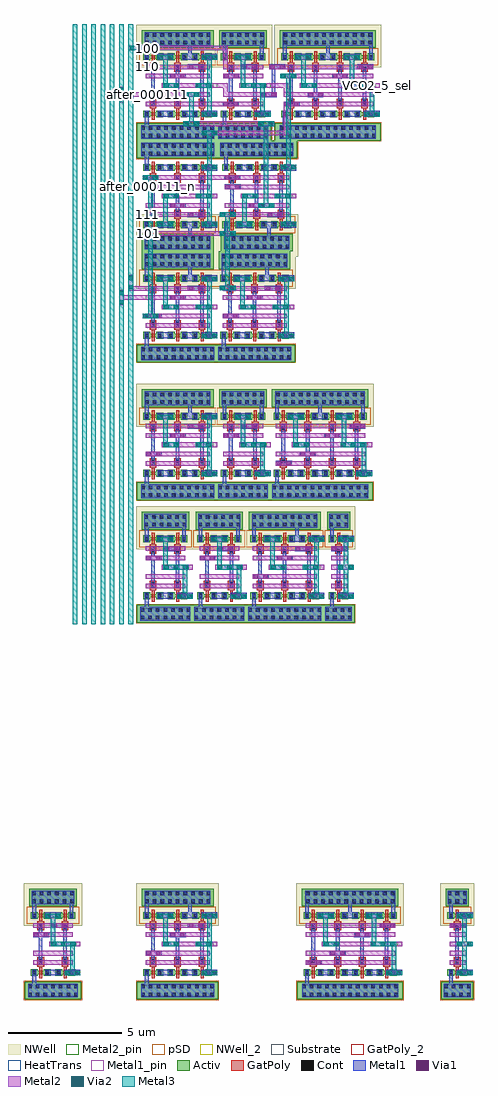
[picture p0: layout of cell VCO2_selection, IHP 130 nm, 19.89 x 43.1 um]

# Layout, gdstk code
from math import pi, radians
import gdstk
lib = gdstk.Library(unit=1e-6, precision=1e-09)
def R(c, l, rs):  # rectangles x0, y0, x1, y1
    for r in rs: c.add(gdstk.rectangle(r[:2], r[2:], *l))
def A(c, l, x, y, w, h, nx, ny, dx, dy):  # array of equal rectangles
    R(c, l, [(x+i*dx, y+j*dy, x+i*dx+w, y+j*dy+h) for i in range(nx) for j in range(ny)])
Activ = (1, 0)
GatPoly = (5, 0)
GatPoly_2 = (5, 2)
Cont = (6, 0)
Metal1 = (8, 0)
Metal1_pin = (8, 2)
Metal2 = (10, 0)
Metal2_pin = (10, 2)
pSD = (14, 0)
Via1 = (19, 0)
Via2 = (29, 0)
Metal3 = (30, 0)
NWell = (31, 0)
NWell_2 = (31, 2)
Substrate = (40, 0)
HeatTrans = (51, 0)

via_4_3 = lib.new_cell('Via$4$3')
R(via_4_3, Metal2, [(-0.1,-0.35,0.1,0.35)])
R(via_4_3, Via2, [(-0.095,-0.3,0.095,-0.11), (-0.095,0.11,0.095,0.3)])
R(via_4_3, Metal3, [(-0.1,-0.35,0.1,0.35)])

ntap1_3 = lib.new_cell('ntap1$3')
R(ntap1_3, Activ, [(0,0,1.01,0.78)])
A(ntap1_3, Cont, 0.085, 0.14, 0.16, 0.16, 3, 2, 0.34, 0.34)
R(ntap1_3, Metal1, [(0.085,0.09,0.925,0.69)])
R(ntap1_3, Metal1_pin, [(0.085,0.09,0.925,0.69), (0.085,0.14,0.925,0.64)])
R(ntap1_3, NWell, [(-0.24,-0.24,1.25,1.02), (0,0,1.01,0.78)])
R(ntap1_3, NWell_2, [(0,0,1.01,0.78)])
ntap1_3.add(gdstk.Label('well', (0.505,0.01), layer=63, texttype=0))
ntap1_3.add(gdstk.Label('well', (0.505,0.01), layer=31, texttype=0))

ptap1_3 = lib.new_cell('ptap1$3')
R(ptap1_3, Activ, [(0,0,1.43,0.78)])
A(ptap1_3, Cont, 0.125, 0.14, 0.16, 0.16, 4, 2, 0.34, 0.34)
R(ptap1_3, Metal1, [(0.125,0.09,1.305,0.69), (0.125,0.14,1.305,0.64)])
R(ptap1_3, Metal1_pin, [(0.125,0.14,1.305,0.64)])
R(ptap1_3, pSD, [(-0.03,-0.03,1.46,0.81)])
R(ptap1_3, Substrate, [(0,0,1.43,0.78)])
ptap1_3.add(gdstk.Label('sub!', (0.715,0.01), layer=63, texttype=0))
ptap1_3.add(gdstk.Label('sub!', (0.715,0.01), layer=40, texttype=0))

via_2_3 = lib.new_cell('Via$2$3')
R(via_2_3, Metal1, [(-0.105,-0.35,0.105,0.35)])
R(via_2_3, Metal2, [(-0.1,-0.35,0.1,0.35)])
R(via_2_3, Via1, [(-0.095,-0.3,0.095,-0.11), (-0.095,0.11,0.095,0.3)])

nmos_3 = lib.new_cell('nmos$3')
R(nmos_3, Activ, [(0,0,0.3,0.3), (0.57,0,0.87,0.3), (0,0.075,0.87,0.225)])
R(nmos_3, GatPoly, [(0.37,-0.105,0.5,0.405)])
R(nmos_3, GatPoly_2, [(0.37,-0.105,0.5,0.405)])
R(nmos_3, Cont, [(0.07,0.07,0.23,0.23), (0.64,0.07,0.8,0.23)])
R(nmos_3, Metal1, [(0.07,0.02,0.23,0.28), (0.64,0.02,0.8,0.28)])
R(nmos_3, Metal1_pin, [(0.07,0.02,0.23,0.28), (0.64,0.02,0.8,0.28)])
R(nmos_3, HeatTrans, [(0.37,-0.105,0.5,0.405)])
nmos_3.add(gdstk.Label('nmos', (0.435,0.15), layer=63, texttype=0))
nmos_3.add(gdstk.Label('nmos', (0.435,0.15), layer=51, texttype=0))

pmos_3 = lib.new_cell('pmos$3')
R(pmos_3, Activ, [(0,0,0.3,0.3), (0.57,0,0.87,0.3), (0,0.075,0.87,0.225)])
R(pmos_3, GatPoly, [(0.37,-0.105,0.5,0.405), (0.37,-0.105,0.5,0.405)])
R(pmos_3, Cont, [(0.07,0.07,0.23,0.23), (0.64,0.07,0.8,0.23)])
R(pmos_3, Metal1, [(0.07,0.02,0.23,0.28), (0.07,0.02,0.23,0.28), (0.64,0.02,0.8,0.28), (0.64,0.02,0.8,0.28)])
R(pmos_3, pSD, [(-0.18,-0.225,1.05,0.525)])
R(pmos_3, NWell, [(-0.31,-0.31,1.18,0.61)])
R(pmos_3, Substrate, [(0.57,0,0.87,0.3)])
R(pmos_3, HeatTrans, [(0.37,-0.105,0.5,0.405)])
pmos_3.add(gdstk.Label('pmos', (0.435,0.15), layer=63, texttype=0))
pmos_3.add(gdstk.Label('pmos', (0.435,0.15), layer=51, texttype=0))

via_12 = lib.new_cell('Via$12')
R(via_12, GatPoly, [(-0.15,-0.15,0.15,0.15)])
R(via_12, Cont, [(-0.08,-0.08,0.08,0.08)])
R(via_12, Metal1, [(-0.13,-0.08,0.13,0.08)])

via_7_1 = lib.new_cell('Via$7$1')
R(via_7_1, Metal2, [(-0.35,-0.1,0.35,0.1)])
R(via_7_1, Via2, [(-0.3,-0.095,-0.11,0.095), (0.11,-0.095,0.3,0.095)])
R(via_7_1, Metal3, [(-0.35,-0.1,0.35,0.1)])

inverter = lib.new_cell('inverter')
R(inverter, GatPoly, [(9.375,7.165,9.675,7.275), (9.375,9.065,9.675,9.175)])
R(inverter, Metal1, [(9.505,6.78,10.205,7.04), (9.505,9.3,10.205,9.56)])
R(inverter, Metal1_pin, [(9.16,6.015,9.36,6.215), (9.325,10.12,9.525,10.32)])
R(inverter, Metal2_pin, [(10.005,8.07,10.205,8.27), (9.2,8.89,9.4,9.09)])
inverter.add(gdstk.FlexPath([(9.245,9.56),(9.245,10.525)], 0.16, ends="flush", simple_path=True, layer=8, datatype=0))  # Metal1
inverter.add(gdstk.FlexPath([(9.245,6.78),(9.245,6.415)], 0.16, ends="flush", simple_path=True, layer=8, datatype=0))  # Metal1
inverter.add(gdstk.FlexPath([(9.525,7.555),(9.525,8.785)], 0.16, ends="flush", simple_path=True, layer=8, datatype=0))  # Metal1
inverter.add(gdstk.FlexPath([(9.65,9.405),(9.485,9.405)], 0.2, ends="flush", simple_path=True, layer=10, datatype=0))  # Metal2
inverter.add(gdstk.FlexPath([(9.65,6.885),(9.485,6.885)], 0.2, ends="flush", simple_path=True, layer=10, datatype=0))  # Metal2
inverter.add(gdstk.FlexPath([(9.2,8.99),(9.92,8.99)], 0.2, ends="flush", simple_path=True, layer=10, datatype=0))  # Metal2
inverter.add(gdstk.FlexPath([(9.2,8.58),(9.92,8.58)], 0.2, ends="flush", simple_path=True, layer=10, datatype=0))  # Metal2
inverter.add(gdstk.FlexPath([(9.2,7.76),(9.92,7.76)], 0.2, ends="flush", simple_path=True, layer=10, datatype=0))  # Metal2
inverter.add(gdstk.FlexPath([(9.2,7.35),(9.92,7.35)], 0.2, ends="flush", simple_path=True, layer=10, datatype=0))  # Metal2
inverter.add(gdstk.FlexPath([(9.2,8.17),(10.205,8.17)], 0.2, ends="flush", simple_path=True, layer=10, datatype=0))  # Metal2
inverter.add(gdstk.FlexPath([(9.855,6.885),(9.855,8.17)], 0.2, ends="flush", simple_path=True, layer=30, datatype=0))  # Metal3
inverter.add(gdstk.FlexPath([(9.855,9.405),(9.855,8.17)], 0.2, ends="flush", simple_path=True, layer=30, datatype=0))  # Metal3
inverter.add(gdstk.Reference(via_4_3, (9.855,6.885), rotation=3*pi/2))
inverter.add(gdstk.Reference(ntap1_3, (9.025,9.835)))
inverter.add(gdstk.Reference(ptap1_3, (8.815,5.725)))
inverter.add(gdstk.Reference(via_2_3, (9.855,6.885), rotation=3*pi/2))
inverter.add(gdstk.Reference(nmos_3, (9.095,6.76)))
inverter.add(gdstk.Reference(pmos_3, (9.095,9.28)))
inverter.add(gdstk.Reference(via_12, (9.525,8.915), rotation=pi/2))
inverter.add(gdstk.Reference(via_12, (9.525,7.425), rotation=3*pi/2))
inverter.add(gdstk.Reference(via_4_3, (9.855,9.405), rotation=3*pi/2))
inverter.add(gdstk.Reference(via_2_3, (9.555,8.99), rotation=3*pi/2))
inverter.add(gdstk.Reference(via_2_3, (9.855,9.405), rotation=3*pi/2))
inverter.add(gdstk.Reference(via_7_1, (9.855,8.17)))
inverter.add(gdstk.Label('out', (10.105,8.17), layer=10, texttype=25))
inverter.add(gdstk.Label('in', (9.3,8.99), layer=10, texttype=25))
inverter.add(gdstk.Label('VP', (9.295,10.22), layer=8, texttype=25))
inverter.add(gdstk.Label('GND', (9.26,6.115), layer=8, texttype=25))

ntap1 = lib.new_cell('ntap1')
R(ntap1, Activ, [(0,0,4.25,0.78)])
A(ntap1, Cont, 0.175, 0.14, 0.16, 0.16, 12, 2, 0.34, 0.34)
R(ntap1, Metal1, [(0.175,0.09,4.075,0.69)])
R(ntap1, Metal1_pin, [(0.175,0.09,4.075,0.69), (0.175,0.14,4.075,0.64)])
R(ntap1, NWell, [(-0.24,-0.24,4.49,1.02), (0,0,4.25,0.78)])
R(ntap1, NWell_2, [(0,0,4.25,0.78)])
ntap1.add(gdstk.Label('well', (2.125,0.01), layer=63, texttype=0))
ntap1.add(gdstk.Label('well', (2.125,0.01), layer=31, texttype=0))

ptap1 = lib.new_cell('ptap1')
R(ptap1, Activ, [(0,0,4.67,0.78)])
A(ptap1, Cont, 0.215, 0.14, 0.16, 0.16, 13, 2, 0.34, 0.34)
R(ptap1, Metal1, [(0.215,0.09,4.455,0.69), (0.215,0.14,4.455,0.64)])
R(ptap1, Metal1_pin, [(0.215,0.14,4.455,0.64)])
R(ptap1, pSD, [(-0.03,-0.03,4.7,0.81)])
R(ptap1, Substrate, [(0,0,4.67,0.78)])
ptap1.add(gdstk.Label('sub!', (2.335,0.01), layer=63, texttype=0))
ptap1.add(gdstk.Label('sub!', (2.335,0.01), layer=40, texttype=0))

nmos = lib.new_cell('nmos')
R(nmos, Activ, [(0,0,0.3,0.3), (0.57,0,0.87,0.3), (0,0.075,0.87,0.225)])
R(nmos, GatPoly, [(0.37,-0.105,0.5,0.405)])
R(nmos, GatPoly_2, [(0.37,-0.105,0.5,0.405)])
R(nmos, Cont, [(0.07,0.07,0.23,0.23), (0.64,0.07,0.8,0.23)])
R(nmos, Metal1, [(0.07,0.02,0.23,0.28), (0.64,0.02,0.8,0.28)])
R(nmos, Metal1_pin, [(0.07,0.02,0.23,0.28), (0.64,0.02,0.8,0.28)])
R(nmos, HeatTrans, [(0.37,-0.105,0.5,0.405)])
nmos.add(gdstk.Label('nmos', (0.435,0.15), layer=63, texttype=0))
nmos.add(gdstk.Label('nmos', (0.435,0.15), layer=51, texttype=0))

pmos = lib.new_cell('pmos')
R(pmos, Activ, [(0,0,0.3,0.3), (0.57,0,0.87,0.3), (0,0.075,0.87,0.225)])
R(pmos, GatPoly, [(0.37,-0.105,0.5,0.405), (0.37,-0.105,0.5,0.405)])
R(pmos, Cont, [(0.07,0.07,0.23,0.23), (0.64,0.07,0.8,0.23)])
R(pmos, Metal1, [(0.07,0.02,0.23,0.28), (0.07,0.02,0.23,0.28), (0.64,0.02,0.8,0.28), (0.64,0.02,0.8,0.28)])
R(pmos, pSD, [(-0.18,-0.225,1.05,0.525)])
R(pmos, NWell, [(-0.31,-0.31,1.18,0.61)])
R(pmos, Substrate, [(0.57,0,0.87,0.3)])
R(pmos, HeatTrans, [(0.37,-0.105,0.5,0.405)])
pmos.add(gdstk.Label('pmos', (0.435,0.15), layer=63, texttype=0))
pmos.add(gdstk.Label('pmos', (0.435,0.15), layer=51, texttype=0))

via = lib.new_cell('Via')
R(via, GatPoly, [(-0.15,-0.15,0.15,0.15)])
R(via, Cont, [(-0.08,-0.08,0.08,0.08)])
R(via, Metal1, [(-0.13,-0.08,0.13,0.08)])

via_2 = lib.new_cell('Via$2')
R(via_2, Metal1, [(-0.105,-0.35,0.105,0.35)])
R(via_2, Metal2, [(-0.1,-0.35,0.1,0.35)])
R(via_2, Via1, [(-0.095,-0.3,0.095,-0.11), (-0.095,0.11,0.095,0.3)])

via_8 = lib.new_cell('Via$8')
R(via_8, Metal2, [(-0.35,-0.1,0.35,0.1)])
R(via_8, Via2, [(-0.3,-0.095,-0.11,0.095), (0.11,-0.095,0.3,0.095)])
R(via_8, Metal3, [(-0.35,-0.1,0.35,0.1)])

via_4 = lib.new_cell('Via$4')
R(via_4, Metal2, [(-0.1,-0.35,0.1,0.35)])
R(via_4, Via2, [(-0.095,-0.3,0.095,-0.11), (-0.095,0.11,0.095,0.3)])
R(via_4, Metal3, [(-0.1,-0.35,0.1,0.35)])

via_6 = lib.new_cell('Via$6')
R(via_6, Metal1, [(-0.35,-0.105,0.35,0.105)])
R(via_6, Metal2, [(-0.35,-0.1,0.35,0.1)])
R(via_6, Via1, [(-0.3,-0.095,-0.11,0.095), (0.11,-0.095,0.3,0.095)])

via_9 = lib.new_cell('Via$9')
R(via_9, Metal2, [(-0.555,-0.1,0.555,0.1)])
A(via_9, Via2, -0.505, -0.095, 0.19, 0.19, 3, 1, 0.41, 0)
R(via_9, Metal3, [(-0.555,-0.1,0.555,0.1)])

nand_4in = lib.new_cell('NAND_4in')
A(nand_4in, GatPoly, 9.375, 7.165, 0.3, 0.11, 4, 2, 1.08, 1.9)
A(nand_4in, Metal1, 9.735, 6.78, 0.67, 0.26, 3, 1, 1.08, 0)
R(nand_4in, Metal1, [(12.745,6.78,13.445,7.04), (9.72,9.3,10.42,9.56), (10.815,9.3,11.485,9.56), (11.865,9.3,12.565,9.56)])
R(nand_4in, Metal1_pin, [(9.16,6.015,9.36,6.215), (9.325,10.12,9.525,10.32)])
R(nand_4in, Metal2_pin, [(9.2,7.25,9.4,7.45), (9.2,7.66,9.4,7.86), (13.245,8.07,13.445,8.27), (9.2,8.48,9.4,8.68), (9.2,8.89,9.4,9.09)])
nand_4in.add(gdstk.FlexPath([(13.055,9.56),(13.055,10.525)], 0.16, ends="flush", simple_path=True, layer=8, datatype=0))  # Metal1
nand_4in.add(gdstk.FlexPath([(12.765,7.555),(12.765,8.785)], 0.16, ends="flush", simple_path=True, layer=8, datatype=0))  # Metal1
nand_4in.add(gdstk.FlexPath([(11.685,7.555),(11.685,8.785)], 0.16, ends="flush", simple_path=True, layer=8, datatype=0))  # Metal1
nand_4in.add(gdstk.FlexPath([(11.15,9.56),(11.15,9.925)], 0.16, ends="flush", simple_path=True, layer=8, datatype=0))  # Metal1
nand_4in.add(gdstk.FlexPath([(9.245,9.56),(9.245,10.525)], 0.16, ends="flush", simple_path=True, layer=8, datatype=0))  # Metal1
nand_4in.add(gdstk.FlexPath([(9.245,6.78),(9.245,6.415)], 0.16, ends="flush", simple_path=True, layer=8, datatype=0))  # Metal1
nand_4in.add(gdstk.FlexPath([(9.525,7.555),(9.525,8.785)], 0.16, ends="flush", simple_path=True, layer=8, datatype=0))  # Metal1
nand_4in.add(gdstk.FlexPath([(10.605,7.555),(10.605,8.785)], 0.16, ends="flush", simple_path=True, layer=8, datatype=0))  # Metal1
nand_4in.add(gdstk.FlexPath([(9.9,8.17),(13.445,8.17)], 0.2, ends="flush", simple_path=True, layer=10, datatype=0))  # Metal2
nand_4in.add(gdstk.FlexPath([(12.89,6.885),(12.725,6.885)], 0.2, ends="flush", simple_path=True, layer=10, datatype=0))  # Metal2
nand_4in.add(gdstk.FlexPath([(12.01,9.405),(11.845,9.405)], 0.2, ends="flush", simple_path=True, layer=10, datatype=0))  # Metal2
nand_4in.add(gdstk.FlexPath([(9.2,7.76),(13.155,7.76)], 0.2, ends="flush", simple_path=True, layer=10, datatype=0))  # Metal2
nand_4in.add(gdstk.FlexPath([(9.2,7.35),(13.155,7.35)], 0.2, ends="flush", simple_path=True, layer=10, datatype=0))  # Metal2
nand_4in.add(gdstk.FlexPath([(9.2,8.99),(13.155,8.99)], 0.2, ends="flush", simple_path=True, layer=10, datatype=0))  # Metal2
nand_4in.add(gdstk.FlexPath([(9.2,8.58),(13.155,8.58)], 0.2, ends="flush", simple_path=True, layer=10, datatype=0))  # Metal2
nand_4in.add(gdstk.FlexPath([(9.865,9.405),(9.7,9.405)], 0.2, ends="flush", simple_path=True, layer=10, datatype=0))  # Metal2
nand_4in.add(gdstk.FlexPath([(10.43,8.58),(10.43,8.58)], 0.2, ends="flush", simple_path=True, layer=10, datatype=0))  # Metal2
nand_4in.add(gdstk.FlexPath([(12.215,9.405),(12.215,8.07)], 0.2, ends="flush", simple_path=True, layer=30, datatype=0))  # Metal3
nand_4in.add(gdstk.FlexPath([(13.095,6.885),(13.095,8.27)], 0.2, ends="flush", simple_path=True, layer=30, datatype=0))  # Metal3
nand_4in.add(gdstk.FlexPath([(10.07,9.305),(10.07,8.07)], 0.2, ends="flush", simple_path=True, layer=30, datatype=0))  # Metal3
nand_4in.add(gdstk.Reference(ntap1, (9.025,9.835)))
nand_4in.add(gdstk.Reference(ptap1, (8.815,5.725)))
nand_4in.add(gdstk.Reference(nmos, (10.175,6.76)))
nand_4in.add(gdstk.Reference(pmos, (10.175,9.28)))
nand_4in.add(gdstk.Reference(nmos, (9.095,6.76)))
nand_4in.add(gdstk.Reference(pmos, (9.095,9.28)))
nand_4in.add(gdstk.Reference(via, (9.525,8.915), rotation=pi/2))
nand_4in.add(gdstk.Reference(via, (10.605,8.915), rotation=pi/2))
nand_4in.add(gdstk.Reference(via, (10.605,7.425), rotation=3*pi/2))
nand_4in.add(gdstk.Reference(via, (9.525,7.425), rotation=3*pi/2))
nand_4in.add(gdstk.Reference(via_2, (11.685,8.58), rotation=3*pi/2))
nand_4in.add(gdstk.Reference(via_8, (10.32,8.17)))
nand_4in.add(gdstk.Reference(via_2, (10.07,9.405), rotation=3*pi/2))
nand_4in.add(gdstk.Reference(via_4, (10.07,9.405), rotation=3*pi/2))
nand_4in.add(gdstk.Reference(via_6, (12.805,8.99)))
nand_4in.add(gdstk.Reference(pmos, (11.255,9.28)))
nand_4in.add(gdstk.Reference(nmos, (11.255,6.76)))
nand_4in.add(gdstk.Reference(via, (11.685,8.915), rotation=pi/2))
nand_4in.add(gdstk.Reference(via, (11.685,7.425), rotation=3*pi/2))
nand_4in.add(gdstk.Reference(via_2, (10.605,7.76), rotation=3*pi/2))
nand_4in.add(gdstk.Reference(via_2, (12.215,9.405), rotation=3*pi/2))
nand_4in.add(gdstk.Reference(via_4, (12.215,9.405), rotation=3*pi/2))
nand_4in.add(gdstk.Reference(via_2, (13.095,6.885), rotation=3*pi/2))
nand_4in.add(gdstk.Reference(via_4, (13.095,6.885), rotation=3*pi/2))
nand_4in.add(gdstk.Reference(via_9, (12.61,8.17)))
nand_4in.add(gdstk.Reference(via_2, (9.55,7.35), rotation=3*pi/2))
nand_4in.add(gdstk.Reference(pmos, (12.335,9.28)))
nand_4in.add(gdstk.Reference(nmos, (12.335,6.76)))
nand_4in.add(gdstk.Reference(via, (12.765,8.915), rotation=pi/2))
nand_4in.add(gdstk.Reference(via, (12.765,7.425), rotation=3*pi/2))
nand_4in.add(gdstk.Label('d', (9.315,7.345), layer=10, texttype=25))
nand_4in.add(gdstk.Label('y', (13.345,8.17), layer=10, texttype=25))
nand_4in.add(gdstk.Label('c', (9.315,7.755), layer=10, texttype=25))
nand_4in.add(gdstk.Label('b', (9.315,8.575), layer=10, texttype=25))
nand_4in.add(gdstk.Label('a', (9.3,8.99), layer=10, texttype=25))
nand_4in.add(gdstk.Label('VP', (9.295,10.22), layer=8, texttype=25))
nand_4in.add(gdstk.Label('GND', (9.26,6.115), layer=8, texttype=25))

ntap1_1 = lib.new_cell('ntap1$1')
R(ntap1_1, Activ, [(0,0,3.17,0.78)])
A(ntap1_1, Cont, 0.145, 0.14, 0.16, 0.16, 9, 2, 0.34, 0.34)
R(ntap1_1, Metal1, [(0.145,0.09,3.025,0.69)])
R(ntap1_1, Metal1_pin, [(0.145,0.09,3.025,0.69), (0.145,0.14,3.025,0.64)])
R(ntap1_1, NWell, [(-0.24,-0.24,3.41,1.02), (0,0,3.17,0.78)])
R(ntap1_1, NWell_2, [(0,0,3.17,0.78)])
ntap1_1.add(gdstk.Label('well', (1.585,0.01), layer=63, texttype=0))
ntap1_1.add(gdstk.Label('well', (1.585,0.01), layer=31, texttype=0))

ptap1_1 = lib.new_cell('ptap1$1')
R(ptap1_1, Activ, [(0,0,3.59,0.78)])
A(ptap1_1, Cont, 0.185, 0.14, 0.16, 0.16, 10, 2, 0.34, 0.34)
R(ptap1_1, Metal1, [(0.185,0.09,3.405,0.69), (0.185,0.14,3.405,0.64)])
R(ptap1_1, Metal1_pin, [(0.185,0.14,3.405,0.64)])
R(ptap1_1, pSD, [(-0.03,-0.03,3.62,0.81)])
R(ptap1_1, Substrate, [(0,0,3.59,0.78)])
ptap1_1.add(gdstk.Label('sub!', (1.795,0.01), layer=63, texttype=0))
ptap1_1.add(gdstk.Label('sub!', (1.795,0.01), layer=40, texttype=0))

nmos_1 = lib.new_cell('nmos$1')
R(nmos_1, Activ, [(0,0,0.3,0.3), (0.57,0,0.87,0.3), (0,0.075,0.87,0.225)])
R(nmos_1, GatPoly, [(0.37,-0.105,0.5,0.405)])
R(nmos_1, GatPoly_2, [(0.37,-0.105,0.5,0.405)])
R(nmos_1, Cont, [(0.07,0.07,0.23,0.23), (0.64,0.07,0.8,0.23)])
R(nmos_1, Metal1, [(0.07,0.02,0.23,0.28), (0.64,0.02,0.8,0.28)])
R(nmos_1, Metal1_pin, [(0.07,0.02,0.23,0.28), (0.64,0.02,0.8,0.28)])
R(nmos_1, HeatTrans, [(0.37,-0.105,0.5,0.405)])
nmos_1.add(gdstk.Label('nmos', (0.435,0.15), layer=63, texttype=0))
nmos_1.add(gdstk.Label('nmos', (0.435,0.15), layer=51, texttype=0))

pmos_1 = lib.new_cell('pmos$1')
R(pmos_1, Activ, [(0,0,0.3,0.3), (0.57,0,0.87,0.3), (0,0.075,0.87,0.225)])
R(pmos_1, GatPoly, [(0.37,-0.105,0.5,0.405), (0.37,-0.105,0.5,0.405)])
R(pmos_1, Cont, [(0.07,0.07,0.23,0.23), (0.64,0.07,0.8,0.23)])
R(pmos_1, Metal1, [(0.07,0.02,0.23,0.28), (0.07,0.02,0.23,0.28), (0.64,0.02,0.8,0.28), (0.64,0.02,0.8,0.28)])
R(pmos_1, pSD, [(-0.18,-0.225,1.05,0.525)])
R(pmos_1, NWell, [(-0.31,-0.31,1.18,0.61)])
R(pmos_1, Substrate, [(0.57,0,0.87,0.3)])
R(pmos_1, HeatTrans, [(0.37,-0.105,0.5,0.405)])
pmos_1.add(gdstk.Label('pmos', (0.435,0.15), layer=63, texttype=0))
pmos_1.add(gdstk.Label('pmos', (0.435,0.15), layer=51, texttype=0))

via_10 = lib.new_cell('Via$10')
R(via_10, GatPoly, [(-0.15,-0.15,0.15,0.15)])
R(via_10, Cont, [(-0.08,-0.08,0.08,0.08)])
R(via_10, Metal1, [(-0.13,-0.08,0.13,0.08)])

via_2_1 = lib.new_cell('Via$2$1')
R(via_2_1, Metal1, [(-0.105,-0.35,0.105,0.35)])
R(via_2_1, Metal2, [(-0.1,-0.35,0.1,0.35)])
R(via_2_1, Via1, [(-0.095,-0.3,0.095,-0.11), (-0.095,0.11,0.095,0.3)])

via_8_1 = lib.new_cell('Via$8$1')
R(via_8_1, Metal2, [(-0.35,-0.1,0.35,0.1)])
R(via_8_1, Via2, [(-0.3,-0.095,-0.11,0.095), (0.11,-0.095,0.3,0.095)])
R(via_8_1, Metal3, [(-0.35,-0.1,0.35,0.1)])

via_4_1 = lib.new_cell('Via$4$1')
R(via_4_1, Metal2, [(-0.1,-0.35,0.1,0.35)])
R(via_4_1, Via2, [(-0.095,-0.3,0.095,-0.11), (-0.095,0.11,0.095,0.3)])
R(via_4_1, Metal3, [(-0.1,-0.35,0.1,0.35)])

via_6_1 = lib.new_cell('Via$6$1')
R(via_6_1, Metal1, [(-0.35,-0.105,0.35,0.105)])
R(via_6_1, Metal2, [(-0.35,-0.1,0.35,0.1)])
R(via_6_1, Via1, [(-0.3,-0.095,-0.11,0.095), (0.11,-0.095,0.3,0.095)])

nand_3in = lib.new_cell('NAND_3in')
A(nand_3in, GatPoly, 9.375, 7.165, 0.3, 0.11, 3, 2, 1.08, 1.9)
R(nand_3in, Metal1, [(9.735,6.78,10.405,7.04), (10.815,6.78,11.485,7.04), (11.665,6.78,12.365,7.04), (9.72,9.3,10.42,9.56), (10.815,9.3,11.485,9.56), (11.665,9.3,12.365,9.56)])
R(nand_3in, Metal1_pin, [(9.16,6.015,9.36,6.215), (9.325,10.12,9.525,10.32)])
R(nand_3in, Metal2_pin, [(9.2,7.66,9.4,7.86), (12.165,8.07,12.365,8.27), (9.2,8.48,9.4,8.68), (9.2,8.89,9.4,9.09)])
nand_3in.add(gdstk.FlexPath([(11.685,7.555),(11.685,8.785)], 0.16, ends="flush", simple_path=True, layer=8, datatype=0))  # Metal1
nand_3in.add(gdstk.FlexPath([(11.15,9.56),(11.15,9.925)], 0.16, ends="flush", simple_path=True, layer=8, datatype=0))  # Metal1
nand_3in.add(gdstk.FlexPath([(9.245,9.56),(9.245,10.525)], 0.16, ends="flush", simple_path=True, layer=8, datatype=0))  # Metal1
nand_3in.add(gdstk.FlexPath([(9.245,6.78),(9.245,6.415)], 0.16, ends="flush", simple_path=True, layer=8, datatype=0))  # Metal1
nand_3in.add(gdstk.FlexPath([(9.525,7.555),(9.525,8.785)], 0.16, ends="flush", simple_path=True, layer=8, datatype=0))  # Metal1
nand_3in.add(gdstk.FlexPath([(10.605,7.555),(10.605,8.785)], 0.16, ends="flush", simple_path=True, layer=8, datatype=0))  # Metal1
nand_3in.add(gdstk.FlexPath([(9.9,8.17),(12.365,8.17)], 0.2, ends="flush", simple_path=True, layer=10, datatype=0))  # Metal2
nand_3in.add(gdstk.FlexPath([(11.81,9.405),(11.645,9.405)], 0.2, ends="flush", simple_path=True, layer=10, datatype=0))  # Metal2
nand_3in.add(gdstk.FlexPath([(11.81,6.885),(11.645,6.885)], 0.2, ends="flush", simple_path=True, layer=10, datatype=0))  # Metal2
nand_3in.add(gdstk.FlexPath([(9.2,7.76),(12.035,7.76)], 0.2, ends="flush", simple_path=True, layer=10, datatype=0))  # Metal2
nand_3in.add(gdstk.FlexPath([(9.2,7.35),(12.035,7.35)], 0.2, ends="flush", simple_path=True, layer=10, datatype=0))  # Metal2
nand_3in.add(gdstk.FlexPath([(9.2,8.99),(12.035,8.99)], 0.2, ends="flush", simple_path=True, layer=10, datatype=0))  # Metal2
nand_3in.add(gdstk.FlexPath([(9.2,8.58),(12.035,8.58)], 0.2, ends="flush", simple_path=True, layer=10, datatype=0))  # Metal2
nand_3in.add(gdstk.FlexPath([(9.865,9.405),(9.7,9.405)], 0.2, ends="flush", simple_path=True, layer=10, datatype=0))  # Metal2
nand_3in.add(gdstk.FlexPath([(10.43,8.58),(10.43,8.58)], 0.2, ends="flush", simple_path=True, layer=10, datatype=0))  # Metal2
nand_3in.add(gdstk.FlexPath([(12.015,6.885),(12.015,8.17)], 0.2, ends="flush", simple_path=True, layer=30, datatype=0))  # Metal3
nand_3in.add(gdstk.FlexPath([(12.015,9.405),(12.015,8.17)], 0.2, ends="flush", simple_path=True, layer=30, datatype=0))  # Metal3
nand_3in.add(gdstk.FlexPath([(10.07,9.305),(10.07,8.07)], 0.2, ends="flush", simple_path=True, layer=30, datatype=0))  # Metal3
nand_3in.add(gdstk.Reference(ntap1_1, (9.025,9.835)))
nand_3in.add(gdstk.Reference(ptap1_1, (8.815,5.725)))
nand_3in.add(gdstk.Reference(nmos_1, (10.175,6.76)))
nand_3in.add(gdstk.Reference(pmos_1, (10.175,9.28)))
nand_3in.add(gdstk.Reference(nmos_1, (9.095,6.76)))
nand_3in.add(gdstk.Reference(pmos_1, (9.095,9.28)))
nand_3in.add(gdstk.Reference(via_10, (9.525,8.915), rotation=pi/2))
nand_3in.add(gdstk.Reference(via_10, (10.605,8.915), rotation=pi/2))
nand_3in.add(gdstk.Reference(via_10, (10.605,7.425), rotation=3*pi/2))
nand_3in.add(gdstk.Reference(via_10, (9.525,7.425), rotation=3*pi/2))
nand_3in.add(gdstk.Reference(via_2_1, (10.61,8.58), rotation=3*pi/2))
nand_3in.add(gdstk.Reference(via_8_1, (10.32,8.17)))
nand_3in.add(gdstk.Reference(via_2_1, (10.07,9.405), rotation=3*pi/2))
nand_3in.add(gdstk.Reference(via_4_1, (10.07,9.405), rotation=3*pi/2))
nand_3in.add(gdstk.Reference(via_6_1, (11.415,8.99)))
nand_3in.add(gdstk.Reference(pmos_1, (11.255,9.28)))
nand_3in.add(gdstk.Reference(nmos_1, (11.255,6.76)))
nand_3in.add(gdstk.Reference(via_10, (11.685,8.915), rotation=pi/2))
nand_3in.add(gdstk.Reference(via_10, (11.685,7.425), rotation=3*pi/2))
nand_3in.add(gdstk.Reference(via_2_1, (9.55,7.76), rotation=3*pi/2))
nand_3in.add(gdstk.Reference(via_2_1, (12.015,9.405), rotation=3*pi/2))
nand_3in.add(gdstk.Reference(via_4_1, (12.015,9.405), rotation=3*pi/2))
nand_3in.add(gdstk.Reference(via_2_1, (12.015,6.885), rotation=3*pi/2))
nand_3in.add(gdstk.Reference(via_4_1, (12.015,6.885), rotation=3*pi/2))
nand_3in.add(gdstk.Reference(via_8_1, (11.765,8.17)))
nand_3in.add(gdstk.Label('c', (9.315,7.755), layer=10, texttype=25))
nand_3in.add(gdstk.Label('y', (12.265,8.17), layer=10, texttype=25))
nand_3in.add(gdstk.Label('b', (9.315,8.575), layer=10, texttype=25))
nand_3in.add(gdstk.Label('a', (9.3,8.99), layer=10, texttype=25))
nand_3in.add(gdstk.Label('VP', (9.295,10.22), layer=8, texttype=25))
nand_3in.add(gdstk.Label('GND', (9.26,6.115), layer=8, texttype=25))

via_4_2 = lib.new_cell('Via$4$2')
R(via_4_2, Metal2, [(-0.1,-0.35,0.1,0.35)])
R(via_4_2, Via2, [(-0.095,-0.3,0.095,-0.11), (-0.095,0.11,0.095,0.3)])
R(via_4_2, Metal3, [(-0.1,-0.35,0.1,0.35)])

via_2_2 = lib.new_cell('Via$2$2')
R(via_2_2, Metal1, [(-0.105,-0.35,0.105,0.35)])
R(via_2_2, Metal2, [(-0.1,-0.35,0.1,0.35)])
R(via_2_2, Via1, [(-0.095,-0.3,0.095,-0.11), (-0.095,0.11,0.095,0.3)])

ntap1_2 = lib.new_cell('ntap1$2')
R(ntap1_2, Activ, [(0,0,2.09,0.78)])
A(ntap1_2, Cont, 0.115, 0.14, 0.16, 0.16, 6, 2, 0.34, 0.34)
R(ntap1_2, Metal1, [(0.115,0.09,1.975,0.69)])
R(ntap1_2, Metal1_pin, [(0.115,0.09,1.975,0.69), (0.115,0.14,1.975,0.64)])
R(ntap1_2, NWell, [(-0.24,-0.24,2.33,1.02), (0,0,2.09,0.78)])
R(ntap1_2, NWell_2, [(0,0,2.09,0.78)])
ntap1_2.add(gdstk.Label('well', (1.045,0.01), layer=63, texttype=0))
ntap1_2.add(gdstk.Label('well', (1.045,0.01), layer=31, texttype=0))

ptap1_2 = lib.new_cell('ptap1$2')
R(ptap1_2, Activ, [(0,0,2.51,0.78)])
A(ptap1_2, Cont, 0.155, 0.14, 0.16, 0.16, 7, 2, 0.34, 0.34)
R(ptap1_2, Metal1, [(0.155,0.09,2.355,0.69), (0.155,0.14,2.355,0.64)])
R(ptap1_2, Metal1_pin, [(0.155,0.14,2.355,0.64)])
R(ptap1_2, pSD, [(-0.03,-0.03,2.54,0.81)])
R(ptap1_2, Substrate, [(0,0,2.51,0.78)])
ptap1_2.add(gdstk.Label('sub!', (1.255,0.01), layer=63, texttype=0))
ptap1_2.add(gdstk.Label('sub!', (1.255,0.01), layer=40, texttype=0))

nmos_2 = lib.new_cell('nmos$2')
R(nmos_2, Activ, [(0,0,0.3,0.3), (0.57,0,0.87,0.3), (0,0.075,0.87,0.225)])
R(nmos_2, GatPoly, [(0.37,-0.105,0.5,0.405)])
R(nmos_2, GatPoly_2, [(0.37,-0.105,0.5,0.405)])
R(nmos_2, Cont, [(0.07,0.07,0.23,0.23), (0.64,0.07,0.8,0.23)])
R(nmos_2, Metal1, [(0.07,0.02,0.23,0.28), (0.64,0.02,0.8,0.28)])
R(nmos_2, Metal1_pin, [(0.07,0.02,0.23,0.28), (0.64,0.02,0.8,0.28)])
R(nmos_2, HeatTrans, [(0.37,-0.105,0.5,0.405)])
nmos_2.add(gdstk.Label('nmos', (0.435,0.15), layer=63, texttype=0))
nmos_2.add(gdstk.Label('nmos', (0.435,0.15), layer=51, texttype=0))

pmos_2 = lib.new_cell('pmos$2')
R(pmos_2, Activ, [(0,0,0.3,0.3), (0.57,0,0.87,0.3), (0,0.075,0.87,0.225)])
R(pmos_2, GatPoly, [(0.37,-0.105,0.5,0.405), (0.37,-0.105,0.5,0.405)])
R(pmos_2, Cont, [(0.07,0.07,0.23,0.23), (0.64,0.07,0.8,0.23)])
R(pmos_2, Metal1, [(0.07,0.02,0.23,0.28), (0.07,0.02,0.23,0.28), (0.64,0.02,0.8,0.28), (0.64,0.02,0.8,0.28)])
R(pmos_2, pSD, [(-0.18,-0.225,1.05,0.525)])
R(pmos_2, NWell, [(-0.31,-0.31,1.18,0.61)])
R(pmos_2, Substrate, [(0.57,0,0.87,0.3)])
R(pmos_2, HeatTrans, [(0.37,-0.105,0.5,0.405)])
pmos_2.add(gdstk.Label('pmos', (0.435,0.15), layer=63, texttype=0))
pmos_2.add(gdstk.Label('pmos', (0.435,0.15), layer=51, texttype=0))

via_11 = lib.new_cell('Via$11')
R(via_11, GatPoly, [(-0.15,-0.15,0.15,0.15)])
R(via_11, Cont, [(-0.08,-0.08,0.08,0.08)])
R(via_11, Metal1, [(-0.13,-0.08,0.13,0.08)])

via_7 = lib.new_cell('Via$7')
R(via_7, Metal2, [(-0.555,-0.1,0.555,0.1)])
A(via_7, Via2, -0.505, -0.095, 0.19, 0.19, 3, 1, 0.41, 0)
R(via_7, Metal3, [(-0.555,-0.1,0.555,0.1)])

via_6_2 = lib.new_cell('Via$6$2')
R(via_6_2, Metal1, [(-0.35,-0.105,0.35,0.105)])
R(via_6_2, Metal2, [(-0.35,-0.1,0.35,0.1)])
R(via_6_2, Via1, [(-0.3,-0.095,-0.11,0.095), (0.11,-0.095,0.3,0.095)])

nand_2in = lib.new_cell('NAND_2in')
R(nand_2in, GatPoly, [(9.375,7.165,9.675,7.275), (10.455,7.165,10.755,7.275), (9.375,9.065,9.675,9.175), (10.455,9.065,10.755,9.175)])
R(nand_2in, Metal1, [(9.735,6.78,10.405,7.04), (10.585,6.78,11.285,7.04), (9.72,9.3,10.42,9.56)])
R(nand_2in, Metal1_pin, [(9.16,6.015,9.36,6.215), (9.325,10.12,9.525,10.32)])
R(nand_2in, Metal2_pin, [(11.085,8.07,11.285,8.27), (9.2,8.48,9.4,8.68), (9.2,8.89,9.4,9.09)])
nand_2in.add(gdstk.FlexPath([(9.245,9.56),(9.245,10.525)], 0.16, ends="flush", simple_path=True, layer=8, datatype=0))  # Metal1
nand_2in.add(gdstk.FlexPath([(10.895,9.56),(10.895,10.525)], 0.16, ends="flush", simple_path=True, layer=8, datatype=0))  # Metal1
nand_2in.add(gdstk.FlexPath([(9.245,6.78),(9.245,6.415)], 0.16, ends="flush", simple_path=True, layer=8, datatype=0))  # Metal1
nand_2in.add(gdstk.FlexPath([(9.525,7.555),(9.525,8.785)], 0.16, ends="flush", simple_path=True, layer=8, datatype=0))  # Metal1
nand_2in.add(gdstk.FlexPath([(10.605,7.555),(10.605,8.785)], 0.16, ends="flush", simple_path=True, layer=8, datatype=0))  # Metal1
nand_2in.add(gdstk.FlexPath([(9.9,8.17),(11.285,8.17)], 0.2, ends="flush", simple_path=True, layer=10, datatype=0))  # Metal2
nand_2in.add(gdstk.FlexPath([(10.895,6.91),(10.565,6.91)], 0.2, ends="flush", simple_path=True, layer=10, datatype=0))  # Metal2
nand_2in.add(gdstk.FlexPath([(9.865,9.405),(9.7,9.405)], 0.2, ends="flush", simple_path=True, layer=10, datatype=0))  # Metal2
nand_2in.add(gdstk.FlexPath([(10.43,8.58),(10.43,8.58)], 0.2, ends="flush", simple_path=True, layer=10, datatype=0))  # Metal2
nand_2in.add(gdstk.FlexPath([(9.2,8.99),(10.955,8.99)], 0.2, ends="flush", simple_path=True, layer=10, datatype=0))  # Metal2
nand_2in.add(gdstk.FlexPath([(9.2,8.58),(10.955,8.58)], 0.2, ends="flush", simple_path=True, layer=10, datatype=0))  # Metal2
nand_2in.add(gdstk.FlexPath([(9.2,7.76),(10.955,7.76)], 0.2, ends="flush", simple_path=True, layer=10, datatype=0))  # Metal2
nand_2in.add(gdstk.FlexPath([(9.2,7.35),(10.955,7.35)], 0.2, ends="flush", simple_path=True, layer=10, datatype=0))  # Metal2
nand_2in.add(gdstk.FlexPath([(10.07,9.305),(10.07,8.07)], 0.2, ends="flush", simple_path=True, layer=30, datatype=0))  # Metal3
nand_2in.add(gdstk.FlexPath([(10.935,6.885),(10.935,8.07)], 0.2, ends="flush", simple_path=True, layer=30, datatype=0))  # Metal3
nand_2in.add(gdstk.Reference(via_4_2, (10.935,6.885), rotation=3*pi/2))
nand_2in.add(gdstk.Reference(via_2_2, (10.935,6.885), rotation=3*pi/2))
nand_2in.add(gdstk.Reference(ntap1_2, (9.025,9.835)))
nand_2in.add(gdstk.Reference(ptap1_2, (8.815,5.725)))
nand_2in.add(gdstk.Reference(nmos_2, (10.175,6.76)))
nand_2in.add(gdstk.Reference(pmos_2, (10.175,9.28)))
nand_2in.add(gdstk.Reference(nmos_2, (9.095,6.76)))
nand_2in.add(gdstk.Reference(pmos_2, (9.095,9.28)))
nand_2in.add(gdstk.Reference(via_11, (9.525,8.915), rotation=pi/2))
nand_2in.add(gdstk.Reference(via_11, (10.605,8.915), rotation=pi/2))
nand_2in.add(gdstk.Reference(via_11, (10.605,7.425), rotation=3*pi/2))
nand_2in.add(gdstk.Reference(via_11, (9.525,7.425), rotation=3*pi/2))
nand_2in.add(gdstk.Reference(via_2_2, (9.55,8.58), rotation=3*pi/2))
nand_2in.add(gdstk.Reference(via_7, (10.525,8.17)))
nand_2in.add(gdstk.Reference(via_2_2, (10.07,9.405), rotation=3*pi/2))
nand_2in.add(gdstk.Reference(via_4_2, (10.07,9.405), rotation=3*pi/2))
nand_2in.add(gdstk.Reference(via_6_2, (10.345,8.99)))
nand_2in.add(gdstk.Label('y', (11.185,8.17), layer=10, texttype=25))
nand_2in.add(gdstk.Label('b', (9.315,8.575), layer=10, texttype=25))
nand_2in.add(gdstk.Label('a', (9.3,8.99), layer=10, texttype=25))
nand_2in.add(gdstk.Label('VP', (9.295,10.22), layer=8, texttype=25))
nand_2in.add(gdstk.Label('GND', (9.26,6.115), layer=8, texttype=25))

via_13 = lib.new_cell('Via$13')
R(via_13, Metal1, [(-0.35,-0.105,0.35,0.105)])
R(via_13, Metal2, [(-0.35,-0.1,0.35,0.1)])
R(via_13, Via1, [(-0.3,-0.095,-0.11,0.095), (0.11,-0.095,0.3,0.095)])

via_15 = lib.new_cell('Via$15')
R(via_15, Metal1, [(-0.35,-0.105,0.35,0.105)])
R(via_15, Metal2, [(-0.35,-0.1,0.35,0.1)])
R(via_15, Via1, [(-0.3,-0.095,-0.11,0.095), (0.11,-0.095,0.3,0.095)])

via_18 = lib.new_cell('Via$18')
R(via_18, Metal2, [(-0.35,-0.1,0.35,0.1)])
R(via_18, Via2, [(-0.3,-0.095,-0.11,0.095), (0.11,-0.095,0.3,0.095)])
R(via_18, Metal3, [(-0.35,-0.1,0.35,0.1)])

via_19 = lib.new_cell('Via$19')
R(via_19, Metal2, [(-0.35,-0.1,0.35,0.1)])
R(via_19, Via2, [(-0.3,-0.095,-0.11,0.095), (0.11,-0.095,0.3,0.095)])
R(via_19, Metal3, [(-0.35,-0.1,0.35,0.1)])

via_14 = lib.new_cell('Via$14')
R(via_14, Metal2, [(-0.35,-0.1,0.35,0.1)])
R(via_14, Via2, [(-0.3,-0.095,-0.11,0.095), (0.11,-0.095,0.3,0.095)])
R(via_14, Metal3, [(-0.35,-0.1,0.35,0.1)])

via_20 = lib.new_cell('Via$20')
R(via_20, Metal2, [(-0.35,-0.1,0.35,0.1)])
R(via_20, Via2, [(-0.3,-0.095,-0.11,0.095), (0.11,-0.095,0.3,0.095)])
R(via_20, Metal3, [(-0.35,-0.1,0.35,0.1)])

vco2_selection = lib.new_cell('VCO2_selection')
R(vco2_selection, Metal2_pin, [(34.775,41.585,34.975,41.785), (34.77,42.415,34.97,42.615), (34.77,42.825,34.97,43.025), (34.77,43.645,34.97,43.845), (34.77,44.055,34.97,44.255), (34.77,47.305,34.97,47.505), (34.77,47.715,34.97,47.915), (44.91,48.125,45.11,48.325), (34.77,48.535,34.97,48.735), (34.77,48.945,34.97,49.145), (34.77,49.77,34.97,49.97)])
vco2_selection.add(gdstk.FlexPath([(40.42,47.815),(40.42,49.025)], 0.16, ends="flush", simple_path=True, layer=8, datatype=0))  # Metal1
vco2_selection.add(gdstk.FlexPath([(37.835,48.225),(38.3,48.225),(38.3,47.715)], 0.2, ends="flush", simple_path=True, layer=10, datatype=0))  # Metal2
vco2_selection.add(gdstk.FlexPath([(37.45,47.405),(38.375,47.405)], 0.2, ends="flush", simple_path=True, layer=10, datatype=0))  # Metal2
vco2_selection.add(gdstk.FlexPath([(38.3,49.045),(38.3,49.87),(37.735,49.87)], 0.2, ends="flush", simple_path=True, layer=10, datatype=0))  # Metal2
vco2_selection.add(gdstk.FlexPath([(37.945,49.87),(34.77,49.87)], 0.2, ends="flush", simple_path=True, layer=10, datatype=0))  # Metal2
vco2_selection.add(gdstk.FlexPath([(39.89,47.815),(39.89,47.815)], 0.2, ends="flush", simple_path=True, layer=10, datatype=0))  # Metal2
vco2_selection.add(gdstk.FlexPath([(40.185,48.225),(40.965,48.225),(40.965,47.715)], 0.2, ends="flush", simple_path=True, layer=10, datatype=0))  # Metal2
vco2_selection.add(gdstk.FlexPath([(36.785,46.53),(40.09,46.53)], 0.2, ends="flush", simple_path=True, layer=10, datatype=0))  # Metal2
vco2_selection.add(gdstk.FlexPath([(37.615,41.685),(38.39,41.685)], 0.2, ends="flush", simple_path=True, layer=10, datatype=0))  # Metal2
vco2_selection.add(gdstk.FlexPath([(37.71,41.685),(34.775,41.685)], 0.2, ends="flush", simple_path=True, layer=10, datatype=0))  # Metal2
vco2_selection.add(gdstk.FlexPath([(37.415,44.155),(38.39,44.155)], 0.2, ends="flush", simple_path=True, layer=10, datatype=0))  # Metal2
vco2_selection.add(gdstk.FlexPath([(38.59,44.155),(38.59,44.155)], 0.2, ends="flush", simple_path=True, layer=10, datatype=0))  # Metal2
vco2_selection.add(gdstk.FlexPath([(37.585,46.12),(40.965,46.12),(40.965,47.505)], 0.2, ends="flush", simple_path=True, layer=10, datatype=0))  # Metal2
vco2_selection.add(gdstk.FlexPath([(34.875,49.87),(34.11,49.87)], 0.2, ends="flush", simple_path=True, layer=10, datatype=0))  # Metal2
vco2_selection.add(gdstk.FlexPath([(34.87,39.265),(34.11,39.265)], 0.2, ends="flush", simple_path=True, layer=10, datatype=0))  # Metal2
vco2_selection.add(gdstk.FlexPath([(34.915,47.815),(33.7,47.815)], 0.2, ends="flush", simple_path=True, layer=10, datatype=0))  # Metal2
vco2_selection.add(gdstk.FlexPath([(34.87,38.855),(33.7,38.855)], 0.2, ends="flush", simple_path=True, layer=10, datatype=0))  # Metal2
vco2_selection.add(gdstk.FlexPath([(36.785,47.815),(36.785,46.53)], 0.2, ends="flush", simple_path=True, layer=30, datatype=0))  # Metal3
vco2_selection.add(gdstk.FlexPath([(40.09,46.34),(40.09,42.925)], 0.2, ends="flush", simple_path=True, layer=30, datatype=0))  # Metal3
vco2_selection.add(gdstk.FlexPath([(40.09,46.26),(40.09,46.53)], 0.2, ends="flush", simple_path=True, layer=30, datatype=0))  # Metal3
vco2_selection.add(gdstk.FlexPath([(41.08,44.595),(41.08,48.635)], 0.2, ends="flush", simple_path=True, layer=30, datatype=0))  # Metal3
vco2_selection.add(gdstk.FlexPath([(37.585,44.62),(37.585,46.16)], 0.2, ends="flush", simple_path=True, layer=30, datatype=0))  # Metal3
vco2_selection.add(gdstk.FlexPath([(34.11,50.935),(34.11,24.435)], 0.2, ends="flush", simple_path=True, layer=30, datatype=0))  # Metal3
vco2_selection.add(gdstk.FlexPath([(33.7,50.935),(33.7,24.435)], 0.2, ends="flush", simple_path=True, layer=30, datatype=0))  # Metal3
vco2_selection.add(gdstk.FlexPath([(33.29,50.935),(33.29,24.435)], 0.2, ends="flush", simple_path=True, layer=30, datatype=0))  # Metal3
vco2_selection.add(gdstk.FlexPath([(32.88,50.935),(32.88,24.435)], 0.2, ends="flush", simple_path=True, layer=30, datatype=0))  # Metal3
vco2_selection.add(gdstk.FlexPath([(32.47,50.935),(32.47,24.435)], 0.2, ends="flush", simple_path=True, layer=30, datatype=0))  # Metal3
vco2_selection.add(gdstk.FlexPath([(32.06,50.935),(32.06,24.435)], 0.2, ends="flush", simple_path=True, layer=30, datatype=0))  # Metal3
vco2_selection.add(gdstk.FlexPath([(31.65,50.935),(31.65,24.435)], 0.2, ends="flush", simple_path=True, layer=30, datatype=0))  # Metal3
vco2_selection.add(gdstk.FlexPath([(34.98,39.36),(34.98,44.155)], 0.2, ends="flush", simple_path=True, layer=30, datatype=0))  # Metal3
vco2_selection.add(gdstk.FlexPath([(34.98,39.525),(34.98,38.035)], 0.2, ends="flush", simple_path=True, layer=30, datatype=0))  # Metal3
vco2_selection.add(gdstk.FlexPath([(38.39,41.685),(38.39,42.515)], 0.2, ends="flush", simple_path=True, layer=30, datatype=0))  # Metal3
vco2_selection.add(gdstk.FlexPath([(38.39,41.685),(38.39,39.27)], 0.2, ends="flush", simple_path=True, layer=30, datatype=0))  # Metal3
vco2_selection.add(gdstk.Reference(inverter, (39,2.14)))
vco2_selection.add(gdstk.Reference(nand_4in, (32.645,2.14)))
vco2_selection.add(gdstk.Reference(nand_3in, (25.57,51.505), x_reflection=True))
vco2_selection.add(gdstk.Reference(nand_3in, (29.065,51.505), x_reflection=True))
vco2_selection.add(gdstk.Reference(nand_3in, (25.57,40.055)))
vco2_selection.add(gdstk.Reference(nand_2in, (25.57,18.775)))
vco2_selection.add(gdstk.Reference(nand_3in, (25.57,24.185)))
vco2_selection.add(gdstk.Reference(nand_2in, (20.605,2.14)))
vco2_selection.add(gdstk.Reference(nand_2in, (29,24.185)))
vco2_selection.add(gdstk.Reference(nand_4in, (31.32,24.185)))
vco2_selection.add(gdstk.Reference(nand_3in, (25.57,2.14)))
vco2_selection.add(gdstk.Reference(nand_3in, (28.97,30.275)))
vco2_selection.add(gdstk.Reference(inverter, (33.76,18.775)))
vco2_selection.add(gdstk.Reference(nand_2in, (27.95,18.775)))
vco2_selection.add(gdstk.Reference(nand_3in, (30.3,18.775)))
vco2_selection.add(gdstk.Reference(nand_4in, (31.665,40.055)))
vco2_selection.add(gdstk.Reference(nand_2in, (29,40.055)))
vco2_selection.add(gdstk.Reference(via_13, (38.525,47.405)))
vco2_selection.add(gdstk.Reference(via_15, (40.215,47.815)))
vco2_selection.add(gdstk.Reference(via_15, (40.58,49.045)))
vco2_selection.add(gdstk.Reference(via_18, (36.785,47.815)))
vco2_selection.add(gdstk.Reference(via_19, (36.785,46.53)))
vco2_selection.add(gdstk.Reference(via_19, (40.09,46.53)))
vco2_selection.add(gdstk.Reference(via_14, (40.09,42.925)))
vco2_selection.add(gdstk.Reference(via_15, (38.59,44.155)))
vco2_selection.add(gdstk.Reference(via_18, (41.065,48.635)))
vco2_selection.add(gdstk.Reference(via_19, (37.585,46.12)))
vco2_selection.add(gdstk.Reference(via_20, (34.36,49.87), rotation=pi))
vco2_selection.add(gdstk.Reference(via_20, (34.11,39.515), rotation=3*pi/2))
vco2_selection.add(gdstk.Reference(via_20, (33.7,47.815), rotation=3*pi/2))
vco2_selection.add(gdstk.Reference(via_19, (33.7,38.855), rotation=3*pi/2))
vco2_selection.add(gdstk.Reference(nand_3in, (25.57,30.275)))
vco2_selection.add(gdstk.Reference(via_18, (34.98,38.035)))
vco2_selection.add(gdstk.Reference(via_14, (34.98,44.155)))
vco2_selection.add(gdstk.Reference(via_14, (38.39,42.515)))
vco2_selection.add(gdstk.Reference(via_19, (38.39,41.685)))
vco2_selection.add(gdstk.Reference(via_14, (38.39,39.27)))
vco2_selection.add(gdstk.Label('110', (34.87,49.045), layer=10, texttype=25))
vco2_selection.add(gdstk.Label('after_001111_n', (34.87,48.635), layer=10, texttype=25))
vco2_selection.add(gdstk.Label('after_000111', (34.87,47.815), layer=10, texttype=25))
vco2_selection.add(gdstk.Label('f5', (34.87,47.405), layer=10, texttype=25))
vco2_selection.add(gdstk.Label('100', (34.87,49.87), layer=10, texttype=25))
vco2_selection.add(gdstk.Label('111', (34.87,42.515), layer=10, texttype=25))
vco2_selection.add(gdstk.Label('after_000011', (34.87,42.925), layer=10, texttype=25))
vco2_selection.add(gdstk.Label('after_000111_n', (34.87,43.745), layer=10, texttype=25))
vco2_selection.add(gdstk.Label('f5_n', (34.87,44.155), layer=10, texttype=25))
vco2_selection.add(gdstk.Label('101', (34.875,41.685), layer=10, texttype=25))
vco2_selection.add(gdstk.Label('VCO2_5_sel', (45.01,48.225), layer=10, texttype=25))

lib.write_gds('VCO2_selection.gds')
